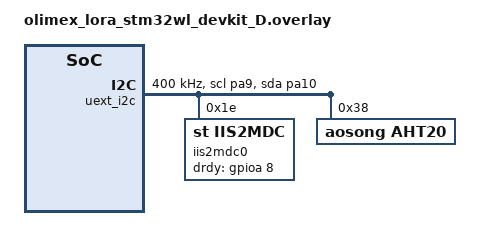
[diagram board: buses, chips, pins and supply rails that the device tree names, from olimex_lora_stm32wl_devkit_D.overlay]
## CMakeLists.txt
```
# This file is used by the build system to find sources you want to compile.

# Some basic setup stuff. We won't go into great detail.
cmake_minimum_required(VERSION 3.20.0)
find_package(Zephyr REQUIRED HINTS $ENV{ZEPHYR_BASE})
project(NONE)

target_sources(app PRIVATE
    src/main.c
    src/env_sensor.c
    src/sender.c)

# Add everything under include/ to the include path.
zephyr_include_directories(include)

# Enable more warnings
target_compile_options(app PRIVATE -Wall -Wextra)
```

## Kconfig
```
# Kconfig files are for defining custom configuration options.
# A config option MY_FOO is available in code as a preprocessor define called CONFIG_MY_FOO.

menu "Zephyr Kernel"
source "Kconfig.zephyr"
endmenu

config BLINK_INTERVAL_MS
    int "Sample configuration option to set the green LED blink interval in milliseconds."
    default 500

config PRESS_TIME_SHORT_MS
    int "Maximum duration of a short press."
    default 500

config ENV_SENSOR_CLIMATE_UPDATE_INTERVAL_MS
    int "Update interval of the climate sensor in milliseconds."
    default 1000

config MOCK_ENV_SENSORS
    bool "Mocks the environmental sensors because I2C is not working properly with new revision."
    default n

# ==================================================================================================
# ------------------------------------- Thread configuration ------------------------------------- #
# ==================================================================================================

# ---------------------------------------- Sender thread ----------------------------------------- #

config SENDER_THREAD_STACK_SIZE
    int "Thread stack size for sender thread."
    default 4096

config SENDER_THREAD_PRIO
    int "Thread stack size for sender thread."
    default 4
```

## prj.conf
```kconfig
# This file enables submodules and configures all kinds of settings.

# Enable logging via the serial console
CONFIG_LOG=y
CONFIG_LOG_BACKEND_UART=y
# Set this to y to get immediate logging instead of deferred logging. Might be useful for debugging.
CONFIG_LOG_MODE_IMMEDIATE=y

# Enable the environmental sensor and the magnetometer.
CONFIG_I2C=y
CONFIG_SENSOR=y

# Currently, we need to mock the I2C peripherals because of the new board revision.
CONFIG_MOCK_ENV_SENSORS=y
CONFIG_TEST_RANDOM_GENERATOR=y
CONFIG_TIMER_RANDOM_GENERATOR=y

# Here, we can set the LED blink interval to different values.
CONFIG_BLINK_INTERVAL_MS=1000

# Set the short press time.
CONFIG_PRESS_TIME_SHORT_MS=1000

# Enable the ZBUS system.
CONFIG_ZBUS=y
CONFIG_ZBUS_MSG_SUBSCRIBER=y

# Enable LoRa
CONFIG_LORA=y
CONFIG_SPI=y
```

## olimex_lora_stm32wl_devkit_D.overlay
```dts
// In an overlay file you can define alternate configurations for your applications.
// You can, for example, enable or disable specific peripherals or remap them to different pins.

// In our case the board description provided lacks the AHT20 sensor which is the replacement for
// the Bosch BME280.

&uext_i2c {
    pinctrl-0 = <&i2c1_scl_pa9 &i2c1_sda_pa10>;
    pinctrl-names = "default";
    status = "okay";
    clock-frequency = <I2C_BITRATE_FAST>;
    timings = <48000000 I2C_BITRATE_FAST 0x1080111C>;

    bme280: bme280@77 {
        // This sensor is no longer soldered on the board.
        status = "disabled";
    };

    iis2mdc0: iis2mdc@1e {
        // This is the magnetometer which we will enable here as well.
        compatible = "st,iis2mdc";
        status = "okay";
        reg = <0x1e>;
        drdy-gpios =  <&gpioa 8 GPIO_ACTIVE_HIGH>;
    };

    aht20: aht20@38 {
        // This is the new environmental sensor.
        compatible = "aosong,aht20";
        reg = <0x38>;
        status = "okay";
    };
};

/ {
    aliases {
        magnetometer = &iis2mdc0;
        climate-sensor = &aht20;
    };
};
```

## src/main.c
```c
// This file conains our application's entry point.

#include "zephyr/sys/time_units.h"
#include "zephyr/zbus/zbus.h"
#include <zephyr/device.h>
#include <zephyr/drivers/gpio.h>
#include <zephyr/kernel.h>
#include <zephyr/logging/log.h>

#include <channels.h>
#include <env_sensor.h>

// We register a log module here so we can use LOG_INF, LOG_ERR, etc. in this
// module.
LOG_MODULE_REGISTER(app);

/* ============================================================================================== */
/* ---------------------------------- Some global definitions ----------------------------------- */
/* ============================================================================================== */

// We define some shorthands for our timeouts.
#define LED_TIMEOUT K_MSEC(CONFIG_BLINK_INTERVAL_MS)

// This reads the GPIO settings of the LEDs at compile time.
static const struct gpio_dt_spec m_led_spec = GPIO_DT_SPEC_GET(DT_ALIAS(led0), gpios);

// These are the button GPIO settings.
static const struct gpio_dt_spec m_button_spec = GPIO_DT_SPEC_GET(DT_ALIAS(sw0), gpios);

// Interrupt callback handler for the button.
static struct gpio_callback m_button_callback;

// Current button press state.
static enum button_state {
    BUTTON_STATE_RELEASED,
    BUTTON_STATE_PRESSED,
} m_button_state = BUTTON_STATE_RELEASED;

// Time when the button was pressed the last time.
static k_ticks_t m_last_pressed = 0;

// Structure defining the work context for publishing a button press message.
static struct press_duration_context {
    struct k_work work;
    uint32_t press_duration_ms;
} m_press_duration_context;

/* ------------------------------------ Function prototypes ------------------------------------- */

// Configures the LED.
static int configure_led(const struct gpio_dt_spec *spec);

// Configures the button.
static int configure_button(const struct gpio_dt_spec *spec, struct gpio_callback *callback);

// Handler for button presses.
static void on_button_change(const struct device *dev, struct gpio_callback *cb, uint32_t pins);

// LED toggle timer expiry function.
static void on_led_timer_expired(struct k_timer *timer);

// Triggers a measurement.
static void trigger_measurement(struct k_timer *timer);

// Takes a sensor measurement and logs the result.
static void take_measurement(struct k_work *work);

// Publishes a button press duration.
static void publish_press_duration(struct k_work *work);

// Timer for the LED.
K_TIMER_DEFINE(m_my_timer, on_led_timer_expired, NULL);

// Timer for triggering measurements.
K_TIMER_DEFINE(m_msmt_timer, trigger_measurement, NULL);

// Work handler for taking measurement.
K_WORK_DEFINE(m_measurement_work, take_measurement);

/* --------------------------------------- Main function. --------------------------------------- */

int main(void)
{
    int err = 0;

    // First initialize all GPIOs.
    err = configure_led(&m_led_spec);
    if (err != 0) {
        LOG_ERR("failed to configure green led: %d", err);
        return 0;
    }

    // Initizlize the button work item before the button reacts to interrupts.
    k_work_init(&m_press_duration_context.work, publish_press_duration);

    err = configure_button(&m_button_spec, &m_button_callback);
    if (err != 0) {
        LOG_ERR("failed to configure button: %d", err);
        return 0;
    }

    // Initialize the climate sensor (should be done in an appropriate module).
    err = env_sensor_climate_init();
    if (err != 0) {
        LOG_ERR("failed to init climate sensor: %d", err);
        return 0;
    }

    // Start the timers for LEDs and measurements. The latter one should be in another module.
    k_timer_start(&m_my_timer, K_NO_WAIT, LED_TIMEOUT);
    k_timer_start(&m_msmt_timer, K_NO_WAIT, K_MSEC(CONFIG_ENV_SENSOR_CLIMATE_UPDATE_INTERVAL_MS));

    return 0;
}

/* ============================================================================================== */
/* ------------------------------ Configuration function for LEDs. ------------------------------ */
/* ============================================================================================== */

static int configure_led(const struct gpio_dt_spec *spec)
{
    // First, we check whether the GPIO device is ready.
    if (!gpio_is_ready_dt(spec)) {
        LOG_ERR("gpio device not ready");
        return -ECANCELED; // Return code is of no relevance here.
    }

    // Next, we set the pin for the green LED to output low.
    int err = gpio_pin_configure_dt(spec, GPIO_OUTPUT_INACTIVE);
    if (err != 0) {
        LOG_ERR("failed to set gpio mode to output_inactive: %d", err);
        return -ECANCELED;
    }

    return 0;
}

/* ============================================================================================== */
/* -------------------------- Button-related configurations and ISRs. --------------------------- */
/* ============================================================================================== */

// Configures the button.
static int configure_button(const struct gpio_dt_spec *spec, struct gpio_callback *callback)
{
    // First, we check whether the GPIO device is ready.
    if (!gpio_is_ready_dt(spec)) {
        LOG_ERR("gpio device not ready");
        return -ECANCELED; // Return code is of no relevance here.
    }

    // Configure the interrupt.
    int err = gpio_pin_configure_dt(spec, GPIO_INPUT);
    if (err != 0) {
        LOG_ERR("failed to set gpio interrupt mode %d", err);
        return -ECANCELED;
    }

    err = gpio_pin_interrupt_configure_dt(spec, GPIO_INT_EDGE_BOTH);
    if (err != 0) {
        LOG_ERR("failed to enable interrupt: %d", err);
        return -ECANCELED;
    }

    gpio_init_callback(callback, on_button_change, BIT(spec->pin));
    err = gpio_add_callback(spec->port, callback);
    if (err != 0) {
        LOG_ERR("failed to add gpio callback: %d", err);
        return -ECANCELED;
    }

    return 0;
}

static void on_led_timer_expired(struct k_timer *timer)
{
    ARG_UNUSED(timer);

    LOG_INF("toggling LED");
    gpio_pin_toggle_dt(&m_led_spec);
}

// Handler function for the button change.
static void on_button_change(const struct device *dev, struct gpio_callback *cb, uint32_t pins)
{
    // We do not need those arguments.
    ARG_UNUSED(dev);
    ARG_UNUSED(cb);
    ARG_UNUSED(pins);

    k_ticks_t uptime = k_uptime_ticks();

    if (m_button_state == BUTTON_STATE_RELEASED) {
        // Button has just been pressed.
        m_button_state = BUTTON_STATE_PRESSED;
        m_last_pressed = uptime;
        return;
    }

    m_button_state = BUTTON_STATE_RELEASED;
    int64_t press_time_ms = k_ticks_to_ms_near64(uptime - m_last_pressed);

    if (press_time_ms <= CONFIG_PRESS_TIME_SHORT_MS) {
        LOG_INF("short press: %lldms", press_time_ms);
    } else {
        LOG_INF("long press: %lldms", press_time_ms);
    }

    // Publish the message inside a work queue and not in an interrupt handler.
    m_press_duration_context.press_duration_ms = (uint32_t)press_time_ms;
    k_work_submit(&m_press_duration_context.work);

    static enum {LED_STATE_ON, LED_STATE_OFF} state = LED_STATE_ON;

    if (state == LED_STATE_ON) {
        k_timer_stop(&m_my_timer);
        state = LED_STATE_OFF;
        LOG_INF("button pressed - stopped leds");
    } else {
        k_timer_start(&m_my_timer, K_NO_WAIT, LED_TIMEOUT);
        state = LED_STATE_ON;
        LOG_INF("button pressed - started leds");
    }
}

static void trigger_measurement(struct k_timer *timer)
{
    ARG_UNUSED(timer);

    LOG_INF("triggering measurement");
    k_work_submit(&m_measurement_work);
}

static void take_measurement(struct k_work *work)
{
    ARG_UNUSED(work);

    struct env_sensor_climate_sample climate_sample = {0};

    int err = env_sensor_climate_get(&climate_sample);
    if (err) {
        LOG_ERR("sample fetch failed: %d", err);
    } else {
        LOG_INF("{temp: %d.%d celsius, humi: %d.%d%%}",
                climate_sample.temperature_celsius.val1,
                climate_sample.temperature_celsius.val2,
                climate_sample.humidity_percent.val1,
                climate_sample.humidity_percent.val2);
    }
}

static void publish_press_duration(struct k_work *work)
{
    struct press_duration_context *ctx = CONTAINER_OF(work, struct press_duration_context, work);
    struct sender_message msg = {
        .type = SENDER_MSG_TYPE_PRESS_DURATION,
        .press_duration_ms = ctx->press_duration_ms,
    };

    int err = zbus_chan_pub(&g_sender_chan, &msg, K_MSEC(500));
    if (err) {
        LOG_ERR("failed to publish press duration: %d", err);
    } else {
        LOG_INF("published press duration: %u", msg.press_duration_ms);
    }
}
```

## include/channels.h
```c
// Defines all channels for module communication.

#ifndef _CHANNELS_H_
#define _CHANNELS_H_

#include <zephyr/kernel.h>
#include <zephyr/zbus/zbus.h>

/// This enum defines the message type for outgoing messages.
enum sender_message_type {
    SENDER_MSG_TYPE_INVALID = 0,    ///< Type is invalid (uninitialized message).
    SENDER_MSG_TYPE_PRESS_DURATION, ///< Button press duration message.
};

/// Defines a message with contents to be sent.
struct sender_message {
    enum sender_message_type type; ///< Message type.

    // This union holds the contents of different message types.
    union {
        uint32_t press_duration_ms; ///< Button press duration in milliseconds.
    };
};

/// Declares the sender channel.
/// This channel is defined in sender.c and made available to everyone who wants to send something.
ZBUS_CHAN_DECLARE(g_sender_chan);

#endif
```

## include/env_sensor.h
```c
// This file defines the interface for the environment sensors.

#ifndef _ENV_SENSOR_H_
#define _ENV_SENSOR_H_

#include <zephyr/kernel.h>
#include <zephyr/drivers/sensor.h>

/// Represents a sensor sample for climate data (temperature and humidity).
struct env_sensor_climate_sample {
    struct sensor_value temperature_celsius; ///< Ambient temperature in degrees celsius.
    struct sensor_value humidity_percent;    ///< Humidity in percent.
};

/// Initializes the climate sensor.
/// \return 0 on success or negative errno code.
int env_sensor_climate_init(void);

/// Gets a sample from the climate sensor.
/// \param[out] sample Pointer to structure in which to save the measurement value.
/// \return 0 on success or negative errno code.
int env_sensor_climate_get(struct env_sensor_climate_sample *sample);

#endif
```

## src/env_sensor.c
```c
// This file implements the reading of environment sensors.

#include <zephyr/kernel.h>
#include <zephyr/device.h>
#include <zephyr/drivers/sensor.h>
#include <zephyr/logging/log.h>

#include <env_sensor.h>

#ifdef CONFIG_MOCK_ENV_SENSORS
#include <zephyr/random/random.h>
#endif

LOG_MODULE_REGISTER(env_sensor);

/* ============================================================================================== */
/* ---------------------------------- Module-wide sensor data. ---------------------------------- */
/* ============================================================================================== */

/* ------------------------------------ Climate sensor data. ------------------------------------ */

#ifndef CONFIG_MOCK_ENV_SENSORS
// Handle to the climate sensor device.
static const struct device *m_climate_sensor = DEVICE_DT_GET(DT_ALIAS(climate_sensor));
#endif

// Flag indicating init status of climate sensor.
static bool m_climate_sensor_initialized = false;

/* ============================================================================================== */
/* ------------------------ Implementation of climate sensor functions. ------------------------- */
/* ============================================================================================== */

int env_sensor_climate_init(void)
{
    if (m_climate_sensor_initialized) {
        // We are already initiazlied.
        return 0;
    }

#ifndef CONFIG_MOCK_ENV_SENSORS
    if (!device_is_ready(m_climate_sensor)) {
        LOG_ERR("sensor not ready - aborting");
        return -ECANCELED;
    }
#endif

    // Currently, there is nothing else to do here.
    m_climate_sensor_initialized = true;
    return 0;
}

int env_sensor_climate_get(struct env_sensor_climate_sample *sample)
{
    if (!sample) {
        return -EINVAL;
    }

    if (!m_climate_sensor_initialized) {
        return -ECANCELED;
    }

#ifndef CONFIG_MOCK_ENV_SENSORS
    int err = sensor_sample_fetch(m_climate_sensor);
    if (err != 0) {
        LOG_ERR("failed to read sensor value: %d", err);
        return err;
    }

    // These calls work once the sample has been fetched.
    (void)sensor_channel_get(
            m_climate_sensor, SENSOR_CHAN_AMBIENT_TEMP, &sample->temperature_celsius);
    (void)sensor_channel_get(m_climate_sensor, SENSOR_CHAN_HUMIDITY, &sample->humidity_percent);
#else
    // Here, we mock the sensor for now.
    static float s_prev_temp = 25.0;
    static float s_prev_hum = 30.0;

    const float max_temp = 35.0;
    const float min_temp = -5.0;
    const float max_hum = 100.0;
    const float min_hum = 0.0;

    int8_t delta_temp;
    sys_rand_get(&delta_temp, sizeof(delta_temp));
    float real_delta_temp = (float)delta_temp / 128.0f;
    s_prev_temp += real_delta_temp;
    s_prev_temp = MAX(min_temp, MIN(max_temp, s_prev_temp));
    sample->temperature_celsius.val1 = (int32_t)s_prev_temp;
    sample->temperature_celsius.val2 = (int32_t)((s_prev_temp - (float)(int32_t)s_prev_temp) * 1000000.0f);

    int8_t delta_hum;
    sys_rand_get(&delta_hum, sizeof(delta_hum));
    float real_delta_hum = (float)delta_hum / 128.0f;
    s_prev_hum += real_delta_hum;
    s_prev_hum = MAX(min_hum, MIN(max_hum, s_prev_hum));
    sample->humidity_percent.val1 = (int32_t)s_prev_hum;
    sample->humidity_percent.val2 = (int32_t)((s_prev_hum - (float)(int32_t)s_prev_hum) * 1000000.0f);

    LOG_WRN("mocked sensor sample");
#endif

    return 0;
}
```

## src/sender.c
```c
// This file implements the LoRa sending thread.

#include <zephyr/device.h>
#include <zephyr/devicetree.h>
#include <zephyr/drivers/lora.h>
#include <zephyr/kernel.h>
#include <zephyr/logging/log.h>
#include <zephyr/zbus/zbus.h>

#include <channels.h>

LOG_MODULE_REGISTER(sender);

/* -------------------------------- Define a new handler thread. -------------------------------- */

// The actual thread function.
void sender_thread(void *_p1, void *_p2, void *_p3);

// Define the thread with its name, stack size, and entry point.
K_THREAD_DEFINE(
        m_sender_thread,
        CONFIG_SENDER_THREAD_STACK_SIZE,
        sender_thread, NULL, NULL, NULL,
        CONFIG_SENDER_THREAD_PRIO,
        0, 0);

/* --------------------------------- Define the sender channel. --------------------------------- */

// Define global zbus channel.
ZBUS_CHAN_DEFINE(g_sender_chan, struct sender_message, NULL, NULL, ZBUS_OBSERVERS_EMPTY, {0});

/* -------------------------------- Define a channel subscriber. -------------------------------- */

// Defines a message subscriber that gets all the messages from a channel.
ZBUS_MSG_SUBSCRIBER_DEFINE(m_send_sub);

// Add the new message subscriber to the list of channel observers for g_sender_chan.
ZBUS_CHAN_ADD_OBS(g_sender_chan, m_send_sub, 2);

/* ------------------------------------ LoRa configuration. ------------------------------------- */

// Configur LoRa module. This sets the physical layer parameters.
static int configure_lora(const struct device *lora);


/* ============================================================================================== */
/* ----------------------- Alternative for sending a trigger to a thread. ----------------------- */
/* ============================================================================================== */

/* K_SEM_DEFINE(m_msg_notifier, 0, 1); */

/* void trigger(void) { */
/*     // ... */
/*     k_sem_give(&m_msg_notifier); */
/* } */

/* void thread(void) { */
/*     while (true) { */
/*         int ret = k_sem_take(&m_msg_notifier, K_FOREVER); */
/*         // do something */
/*     } */
/* } */


/* ============================================================================================== */
/* ----------------------------------- Thread implementation. ----------------------------------- */
/* ============================================================================================== */

void sender_thread(void *_p1, void *_p2, void *_p3)
{
    ARG_UNUSED(_p1);
    ARG_UNUSED(_p2);
    ARG_UNUSED(_p3);

    LOG_INF("sender thread spawned");

    // First, we configure the LoRa module.
    const struct device *lora = DEVICE_DT_GET(DT_ALIAS(lora0));
    int err = 0;

    err = configure_lora(lora);
    if (err) {
        LOG_ERR("failed to configure lora: %d", err);
        return;
    }

    // Now, we loop forever and consume messages.
    while (true) {
        const struct zbus_channel *chan;
        struct sender_message msg = {0};
        err = zbus_sub_wait_msg(&m_send_sub, &chan, &msg, K_FOREVER);
        if (err) {
            LOG_ERR("failed to read msg: %d - aborting", err);
            return;
        }

        if (&g_sender_chan != chan) {
            // This must never happen!
            LOG_ERR("received from wrong channel %p", chan);
            continue;
        }

        // We validate the message type here.
        if (msg.type != SENDER_MSG_TYPE_PRESS_DURATION) {
            LOG_ERR("illegal sender message type");
            continue;
        }

        LOG_INF("button press was %ums", msg.press_duration_ms);

        // It would be better to statically allocate the message.
        char send_buffer[12];
        snprintk(send_buffer, sizeof(send_buffer), "{d:%u}", msg.press_duration_ms);

        err = lora_send(lora, send_buffer, strlen(send_buffer));
        if (err) {
            LOG_ERR("failed to send packet %s: %d", send_buffer, err);
        } else {
            LOG_INF("sent packet: %s", send_buffer);
        }
    }
}

/* ------------------------------------ LoRa configuration. ------------------------------------- */

static int configure_lora(const struct device *lora)
{
    if (!device_is_ready(lora)) {
        LOG_ERR("lora device not ready");
        return -ECANCELED;
    }

    struct lora_modem_config config = {
        .frequency = 865100000,
        .bandwidth = BW_125_KHZ,
        .datarate = SF_10,
        .coding_rate = CR_4_5,
        .iq_inverted = false,
        .public_network = false,
        .tx_power = 4,
        .tx = true,
    };

    return lora_config(lora, &config);
}
```
